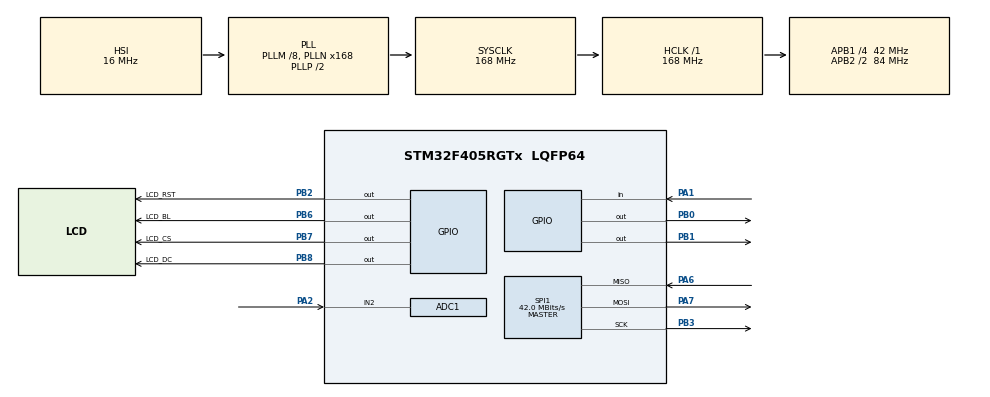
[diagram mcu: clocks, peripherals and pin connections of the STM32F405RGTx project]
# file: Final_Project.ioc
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ADC1.Channel-1\#ChannelRegularConversion=ADC_CHANNEL_2
ADC1.ContinuousConvMode=ENABLE
ADC1.DMAContinuousRequests=ENABLE
ADC1.NbrOfConversion=1
ADC1.NbrOfConversionFlag=1
ADC1.Rank-1\#ChannelRegularConversion=1
ADC1.SamplingTime-1\#ChannelRegularConversion=ADC_SAMPLETIME_3CYCLES
ADC1.ScanConvMode=ENABLE
ADC1.master=1
Dma.ADC1.0.Direction=DMA_PERIPH_TO_MEMORY
Dma.ADC1.0.FIFOMode=DMA_FIFOMODE_DISABLE
Dma.ADC1.0.Instance=DMA2_Stream0
Dma.ADC1.0.MemDataAlignment=DMA_MDATAALIGN_HALFWORD
Dma.ADC1.0.MemInc=DMA_MINC_ENABLE
Dma.ADC1.0.Mode=DMA_CIRCULAR
Dma.ADC1.0.PeriphDataAlignment=DMA_PDATAALIGN_HALFWORD
Dma.ADC1.0.PeriphInc=DMA_PINC_DISABLE
Dma.ADC1.0.Priority=DMA_PRIORITY_LOW
Dma.Request0=ADC1
Dma.Request1=SPI1_TX
Dma.SPI1_TX.1.Direction=DMA_MEMORY_TO_PERIPH
Dma.SPI1_TX.1.FIFOMode=DMA_FIFOMODE_DISABLE
Dma.SPI1_TX.1.Instance=DMA2_Stream3
Dma.SPI1_TX.1.MemDataAlignment=DMA_MDATAALIGN_BYTE
Dma.SPI1_TX.1.MemInc=DMA_MINC_ENABLE
Dma.SPI1_TX.1.Mode=DMA_NORMAL
Dma.SPI1_TX.1.PeriphDataAlignment=DMA_PDATAALIGN_BYTE
Dma.SPI1_TX.1.PeriphInc=DMA_PINC_DISABLE
Dma.SPI1_TX.1.Priority=DMA_PRIORITY_LOW
FREERTOS.BinarySemaphores01=flashWriteSemaphore,Dynamic,NULL,Available;flashWriteCompletedSemaphore,Dynamic,NULL,Available
FREERTOS.Tasks01=task1,0,128,blinkLed,Default,NULL,Dynamic,NULL,NULL;task2,0,128,readADC,Default,NULL,Dynamic,NULL,NULL;task3,0,128,monitorButton,Default,NULL,Dynamic,NULL,NULL
FREERTOS.configUSE_NEWLIB_REENTRANT=1
Mcu.Family=STM32F4
Mcu.Name=STM32F405RGTx
Mcu.Package=LQFP64
NVIC.DMA2_Stream0_IRQn=true\:5\:0\:false\:false\:true\:true\:false\:true\:true
NVIC.DMA2_Stream3_IRQn=true\:5\:0\:false\:false\:true\:true\:false\:true\:true
NVIC.PriorityGroup=NVIC_PRIORITYGROUP_4
PA1.Signal=GPIO_Input
PA13.Mode=Serial_Wire
PA13.Signal=SYS_JTMS-SWDIO
PA14.Mode=Serial_Wire
PA14.Signal=SYS_JTCK-SWCLK
PA2.Signal=ADCx_IN2
PA6.Mode=Full_Duplex_Master
PA6.Signal=SPI1_MISO
PA7.Mode=Full_Duplex_Master
PA7.Signal=SPI1_MOSI
PB0.Signal=GPIO_Output
PB1.Signal=GPIO_Output
PB2.GPIO_Label=LCD_RST
PB2.Signal=GPIO_Output
PB3.Mode=Full_Duplex_Master
PB3.Signal=SPI1_SCK
PB6.GPIO_Label=LCD_BL
PB6.Signal=GPIO_Output
PB7.GPIO_Label=LCD_CS
PB7.Signal=GPIO_Output
PB8.GPIO_Label=LCD_DC
PB8.Signal=GPIO_Output
PH0-OSC_IN.Mode=HSE-External-Oscillator
PH0-OSC_IN.Signal=RCC_OSC_IN
PH1-OSC_OUT.Mode=HSE-External-Oscillator
PH1-OSC_OUT.Signal=RCC_OSC_OUT
ProjectManager.HeapSize=0x200
ProjectManager.StackSize=0x400
ProjectManager.TargetToolchain=STM32CubeIDE
RCC.48MHZClocksFreq_Value=84000000
RCC.AHBFreq_Value=168000000
RCC.APB1CLKDivider=RCC_HCLK_DIV4
RCC.APB1Freq_Value=42000000
RCC.APB1TimFreq_Value=84000000
RCC.APB2CLKDivider=RCC_HCLK_DIV2
RCC.APB2Freq_Value=84000000
RCC.APB2TimFreq_Value=168000000
RCC.CortexFreq_Value=168000000
RCC.HCLKFreq_Value=168000000
RCC.HSE_VALUE=25000000
RCC.HSI_VALUE=16000000
RCC.LSE_VALUE=32768
RCC.PLLM=8
RCC.PLLN=168
RCC.SYSCLKFreq_VALUE=168000000
RCC.SYSCLKSource=RCC_SYSCLKSOURCE_PLLCLK
RCC.VCOOutputFreq_Value=336000000
SH.ADCx_IN2.0=ADC1_IN2,IN2
SPI1.CalculateBaudRate=42.0 MBits/s
SPI1.Direction=SPI_DIRECTION_2LINES
SPI1.Mode=SPI_MODE_MASTER
SPI1.VirtualType=VM_MASTER
VP_FREERTOS_VS_CMSIS_V1.Mode=CMSIS_V1
board=custom

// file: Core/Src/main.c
/* USER CODE BEGIN Header */
/**
  ******************************************************************************
  * @file           : main.c
  * @brief          : Main program body
  ******************************************************************************
  * @attention
  *
  * Copyright (c) 2024 STMicroelectronics.
  * All rights reserved.
  *
  * This software is licensed under terms that can be found in the LICENSE file
  * in the root directory of this software component.
  * If no LICENSE file comes with this software, it is provided AS-IS.
  *
  ******************************************************************************
  */
/* USER CODE END Header */
#include "main.h"
#include "cmsis_os.h"

/* USER CODE BEGIN Includes */
#include "st7789.h"
/* USER CODE END Includes */

/* USER CODE BEGIN PD */
#define ADC_BUF_LEN 10
/* USER CODE END PD */

/* USER CODE BEGIN PM */
#define ENABLE_BIT(reg, pos) reg |= (1 << pos)
#define DISABLE_BIT(reg, pos) reg &=~ (1 << pos)
/* USER CODE END PM */

ADC_HandleTypeDef hadc1;
DMA_HandleTypeDef hdma_adc1;

SPI_HandleTypeDef hspi1;
DMA_HandleTypeDef hdma_spi1_tx;

osThreadId task1Handle;
osThreadId task2Handle;
osThreadId task3Handle;
osSemaphoreId flashWriteSemaphoreHandle;
osSemaphoreId flashWriteCompletedSemaphoreHandle;
/* USER CODE BEGIN PV */
uint16_t adc_value[ADC_BUF_LEN];
uint16_t rx_data[ADC_BUF_LEN];
uint8_t flash_write_f = 0;
/* USER CODE END PV */

void SystemClock_Config(void);
static void MX_GPIO_Init(void);
static void MX_DMA_Init(void);
static void MX_ADC1_Init(void);
static void MX_SPI1_Init(void);
void blinkLed(void const * argument);
void readADC(void const * argument);
void monitorButton(void const * argument);

/* USER CODE BEGIN 0 */
int8_t write_to_backup_sram(uint16_t *data, uint16_t words, uint16_t offset) {
      const uint16_t backup_size = 0x1000;
      uint16_t* base_addr = (uint16_t *) BKPSRAM_BASE;
      uint16_t i;

      if (words + offset >= backup_size) {
          return -1; // ERROR: the last byte is outside the backup SRAM region
      }

      ENABLE_BIT(RCC->AHB1ENR, RCC_AHB1ENR_BKPSRAMEN_Pos);
	  ENABLE_BIT(RCC->AHB1ENR, RCC_APB1ENR_PWREN_Pos);
	  ENABLE_BIT(PWR->CR, 8);
	  ENABLE_BIT(PWR->CSR, 9);

      for (i = 0; i < words; i++) {
          *(base_addr + offset + i) = *(data + i);
      }

      DISABLE_BIT(PWR->CR, 8);
      return 0;
  }

int8_t read_from_backup_sram(uint16_t *data, uint16_t words, uint16_t offset) {
      const uint16_t backup_size = 0x1000;
      uint16_t* base_addr = (uint16_t *) BKPSRAM_BASE;
      uint16_t i;

      if (words + offset >= backup_size) {
          return -1; // ERROR: the last byte is outside the backup SRAM region
      }

      ENABLE_BIT(RCC->AHB1ENR, RCC_APB1ENR_PWREN_Pos);
      ENABLE_BIT(PWR->CR, 8);
      ENABLE_BIT(RCC->AHB1ENR, RCC_AHB1ENR_BKPSRAMEN_Pos);

      for (i = 0; i < words; i++) {
          *(data + i) = *(base_addr + offset + i);
      }
      DISABLE_BIT(PWR->CR, 8);
      return 0;
}

/* USER CODE END 0 */

int main(void)
{

  /* MCU Configuration--------------------------------------------------------*/

  /* Reset of all peripherals, Initializes the Flash interface and the Systick. */
  HAL_Init();

  /* Configure the system clock */
  SystemClock_Config();

  /* Initialize all configured peripherals */
  MX_GPIO_Init();
  MX_DMA_Init();
  MX_ADC1_Init();
  MX_SPI1_Init();
  /* USER CODE BEGIN 2 */
  ST7789_Init();
  ST7789_SetRotation(2);
  ST7789_Fill_Color(BLACK);
//  ST7789_WriteString(10, 10, "KPS", Font_7x10, RED, BLACK);
  /* USER CODE END 2 */

  /* Create the semaphores(s) */
  /* definition and creation of flashWriteSemaphore */
  osSemaphoreDef(flashWriteSemaphore);
  flashWriteSemaphoreHandle = osSemaphoreCreate(osSemaphore(flashWriteSemaphore), 1);

  /* definition and creation of flashWriteCompletedSemaphore */
  osSemaphoreDef(flashWriteCompletedSemaphore);
  flashWriteCompletedSemaphoreHandle = osSemaphoreCreate(osSemaphore(flashWriteCompletedSemaphore), 1);

  /* Create the thread(s) */
  /* definition and creation of task1 */
  osThreadDef(task1, blinkLed, osPriorityNormal, 0, 128);
  task1Handle = osThreadCreate(osThread(task1), NULL);

  /* definition and creation of task2 */
  osThreadDef(task2, readADC, osPriorityNormal, 0, 128);
  task2Handle = osThreadCreate(osThread(task2), NULL);

  /* definition and creation of task3 */
  osThreadDef(task3, monitorButton, osPriorityNormal, 0, 128);
  task3Handle = osThreadCreate(osThread(task3), NULL);

  /* Start scheduler */
  osKernelStart();

  /* We should never get here as control is now taken by the scheduler */

  /* Infinite loop */
  while (1)
  {

  }
}

void SystemClock_Config(void)
{
  RCC_OscInitTypeDef RCC_OscInitStruct = {0};
  RCC_ClkInitTypeDef RCC_ClkInitStruct = {0};

  /** Configure the main internal regulator output voltage
  */
  __HAL_RCC_PWR_CLK_ENABLE();
  __HAL_PWR_VOLTAGESCALING_CONFIG(PWR_REGULATOR_VOLTAGE_SCALE1);

  /** Initializes the RCC Oscillators according to the specified parameters
  * in the RCC_OscInitTypeDef structure.
  */
  RCC_OscInitStruct.OscillatorType = RCC_OSCILLATORTYPE_HSI;
  RCC_OscInitStruct.HSIState = RCC_HSI_ON;
  RCC_OscInitStruct.HSICalibrationValue = RCC_HSICALIBRATION_DEFAULT;
  RCC_OscInitStruct.PLL.PLLState = RCC_PLL_ON;
  RCC_OscInitStruct.PLL.PLLSource = RCC_PLLSOURCE_HSI;
  RCC_OscInitStruct.PLL.PLLM = 8;
  RCC_OscInitStruct.PLL.PLLN = 168;
  RCC_OscInitStruct.PLL.PLLP = RCC_PLLP_DIV2;
  RCC_OscInitStruct.PLL.PLLQ = 4;
  if (HAL_RCC_OscConfig(&RCC_OscInitStruct) != HAL_OK)
  {
    Error_Handler();
  }

  /** Initializes the CPU, AHB and APB buses clocks
  */
  RCC_ClkInitStruct.ClockType = RCC_CLOCKTYPE_HCLK|RCC_CLOCKTYPE_SYSCLK
                              |RCC_CLOCKTYPE_PCLK1|RCC_CLOCKTYPE_PCLK2;
  RCC_ClkInitStruct.SYSCLKSource = RCC_SYSCLKSOURCE_PLLCLK;
  RCC_ClkInitStruct.AHBCLKDivider = RCC_SYSCLK_DIV1;
  RCC_ClkInitStruct.APB1CLKDivider = RCC_HCLK_DIV4;
  RCC_ClkInitStruct.APB2CLKDivider = RCC_HCLK_DIV2;

  if (HAL_RCC_ClockConfig(&RCC_ClkInitStruct, FLASH_LATENCY_5) != HAL_OK)
  {
    Error_Handler();
  }
}

static void MX_ADC1_Init(void)
{

  ADC_ChannelConfTypeDef sConfig = {0};

  /** Configure the global features of the ADC (Clock, Resolution, Data Alignment and number of conversion)
  */
  hadc1.Instance = ADC1;
  hadc1.Init.ClockPrescaler = ADC_CLOCK_SYNC_PCLK_DIV4;
  hadc1.Init.Resolution = ADC_RESOLUTION_12B;
  hadc1.Init.ScanConvMode = ENABLE;
  hadc1.Init.ContinuousConvMode = ENABLE;
  hadc1.Init.DiscontinuousConvMode = DISABLE;
  hadc1.Init.ExternalTrigConvEdge = ADC_EXTERNALTRIGCONVEDGE_NONE;
  hadc1.Init.ExternalTrigConv = ADC_SOFTWARE_START;
  hadc1.Init.DataAlign = ADC_DATAALIGN_RIGHT;
  hadc1.Init.NbrOfConversion = 1;
  hadc1.Init.DMAContinuousRequests = ENABLE;
  hadc1.Init.EOCSelection = ADC_EOC_SINGLE_CONV;
  if (HAL_ADC_Init(&hadc1) != HAL_OK)
  {
    Error_Handler();
  }

  /** Configure for the selected ADC regular channel its corresponding rank in the sequencer and its sample time.
  */
  sConfig.Channel = ADC_CHANNEL_2;
  sConfig.Rank = 1;
  sConfig.SamplingTime = ADC_SAMPLETIME_3CYCLES;
  if (HAL_ADC_ConfigChannel(&hadc1, &sConfig) != HAL_OK)
  {
    Error_Handler();
  }

}

static void MX_SPI1_Init(void)
{

  /* SPI1 parameter configuration*/
  hspi1.Instance = SPI1;
  hspi1.Init.Mode = SPI_MODE_MASTER;
  hspi1.Init.Direction = SPI_DIRECTION_2LINES;
  hspi1.Init.DataSize = SPI_DATASIZE_8BIT;
  hspi1.Init.CLKPolarity = SPI_POLARITY_LOW;
  hspi1.Init.CLKPhase = SPI_PHASE_1EDGE;
  hspi1.Init.NSS = SPI_NSS_SOFT;
  hspi1.Init.BaudRatePrescaler = SPI_BAUDRATEPRESCALER_2;
  hspi1.Init.FirstBit = SPI_FIRSTBIT_MSB;
  hspi1.Init.TIMode = SPI_TIMODE_DISABLE;
  hspi1.Init.CRCCalculation = SPI_CRCCALCULATION_DISABLE;
  hspi1.Init.CRCPolynomial = 10;
  if (HAL_SPI_Init(&hspi1) != HAL_OK)
  {
    Error_Handler();
  }

}

static void MX_DMA_Init(void)
{

  /* DMA controller clock enable */
  __HAL_RCC_DMA2_CLK_ENABLE();

  /* DMA interrupt init */
  /* DMA2_Stream0_IRQn interrupt configuration */
  HAL_NVIC_SetPriority(DMA2_Stream0_IRQn, 5, 0);
  HAL_NVIC_EnableIRQ(DMA2_Stream0_IRQn);
  /* DMA2_Stream3_IRQn interrupt configuration */
  HAL_NVIC_SetPriority(DMA2_Stream3_IRQn, 5, 0);
  HAL_NVIC_EnableIRQ(DMA2_Stream3_IRQn);

}

static void MX_GPIO_Init(void)
{
  GPIO_InitTypeDef GPIO_InitStruct = {0};

  /* GPIO Ports Clock Enable */
  __HAL_RCC_GPIOH_CLK_ENABLE();
  __HAL_RCC_GPIOA_CLK_ENABLE();
  __HAL_RCC_GPIOB_CLK_ENABLE();

  /*Configure GPIO pin Output Level */
  HAL_GPIO_WritePin(GPIOB, GPIO_PIN_0|GPIO_PIN_1|LCD_RST_Pin|LCD_BL_Pin
                          |LCD_CS_Pin|LCD_DC_Pin, GPIO_PIN_RESET);

  /*Configure GPIO pin : PA1 */
  GPIO_InitStruct.Pin = GPIO_PIN_1;
  GPIO_InitStruct.Mode = GPIO_MODE_INPUT;
  GPIO_InitStruct.Pull = GPIO_NOPULL;
  HAL_GPIO_Init(GPIOA, &GPIO_InitStruct);

  /*Configure GPIO pins : PB0 PB1 LCD_RST_Pin LCD_BL_Pin
                           LCD_CS_Pin LCD_DC_Pin */
  GPIO_InitStruct.Pin = GPIO_PIN_0|GPIO_PIN_1|LCD_RST_Pin|LCD_BL_Pin
                          |LCD_CS_Pin|LCD_DC_Pin;
  GPIO_InitStruct.Mode = GPIO_MODE_OUTPUT_PP;
  GPIO_InitStruct.Pull = GPIO_NOPULL;
  GPIO_InitStruct.Speed = GPIO_SPEED_FREQ_LOW;
  HAL_GPIO_Init(GPIOB, &GPIO_InitStruct);

}

/* USER CODE BEGIN 4 */

// Called when buffer is completely filled
void HAL_ADC_ConvCpltCallback(ADC_HandleTypeDef* hadc) {

	osSemaphoreRelease(flashWriteSemaphoreHandle);
}
/* USER CODE END 4 */

void blinkLed(void const * argument)
{
  /* USER CODE BEGIN 5 */
  /* Infinite loop */
  for(;;)
  {
	HAL_GPIO_TogglePin(GPIOB, GPIO_PIN_0);
    osDelay(2000);
  }
  /* USER CODE END 5 */
}

void readADC(void const * argument)
{
  /* USER CODE BEGIN readADC */
  /* Infinite loop */
	HAL_ADC_Start_DMA(&hadc1, (uint32_t*)adc_value, ADC_BUF_LEN);
  for(;;)
  {
	  osSemaphoreWait(flashWriteSemaphoreHandle, osWaitForever);
	  write_to_backup_sram(adc_value, ADC_BUF_LEN,0);
	  osSemaphoreRelease(flashWriteSemaphoreHandle);
	  osSemaphoreRelease(flashWriteCompletedSemaphoreHandle);
	  osDelay(1);
  }
  /* USER CODE END readADC */
}

void monitorButton(void const * argument)
{
  /* USER CODE BEGIN monitorButton */
  /* Infinite loop */
	float vol = 0.0;
	char buffer[16];
  for(;;)
  {
	  osSemaphoreWait(flashWriteCompletedSemaphoreHandle, osWaitForever);

	  if (HAL_GPIO_ReadPin(GPIOA, GPIO_PIN_1) == GPIO_PIN_RESET) {
		  osDelay(100);
		  if (HAL_GPIO_ReadPin(GPIOA, GPIO_PIN_1) == GPIO_PIN_RESET) {
			  read_from_backup_sram(rx_data, ADC_BUF_LEN, 0);
			  vol = ((float)rx_data[0]/4096.0)*3.3;

			  vol *= 100.0;
			  uint32_t nguyen = vol / 100;
			  uint32_t thapphan = (uint32_t)vol % 100;
			  sprintf(buffer, "Lasted voltage value: %d.%02d", nguyen, thapphan);
			  ST7789_Fill(10, 20, 240, 40, BLACK);
			  ST7789_WriteString(10, 10, "KPS", Font_7x10, RED, BLACK);
			  ST7789_WriteString(10, 20, buffer, Font_7x10, RED, BLACK);

			  if(vol > 1.0)
				  HAL_GPIO_WritePin(GPIOB, GPIO_PIN_1, 1);
			  else
				  HAL_GPIO_WritePin(GPIOB, GPIO_PIN_1, 0);
			  while (HAL_GPIO_ReadPin(GPIOA, GPIO_PIN_1) == GPIO_PIN_RESET) {
				  osDelay(10);  // Small delay to avoid CPU overload
			  }
		  }
		  osSemaphoreRelease(flashWriteCompletedSemaphoreHandle);
	  }
	  osDelay(1);
  }
  /* USER CODE END monitorButton */
}

void Error_Handler(void)
{
  __disable_irq();
  while (1)
  {
  }
}
